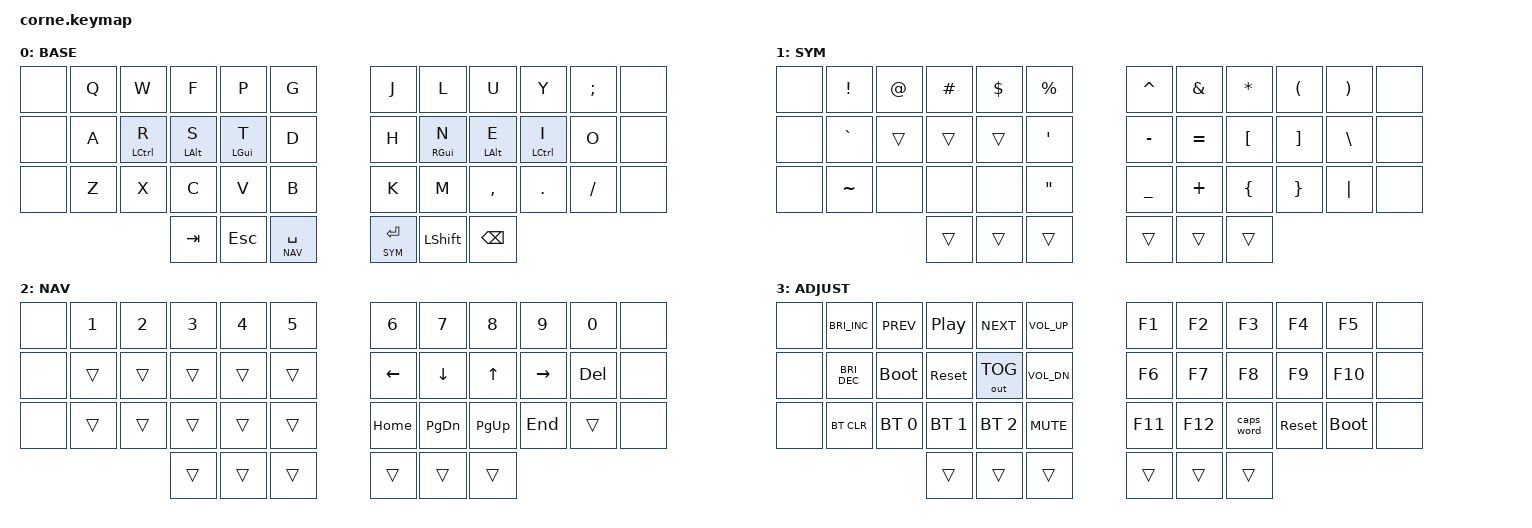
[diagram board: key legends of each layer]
 /*
 * Copyright (c) 2020 The ZMK Contributors
 *
 * SPDX-License-Identifier: MIT
 */

#include <behaviors.dtsi>
#include <dt-bindings/zmk/keys.h>
#include <dt-bindings/zmk/bt.h>
#include <dt-bindings/zmk/outputs.h>

#define BASE   0
#define SYM    1
#define NAV    2
#define ADJUST 3

/* Space/NAV and Enter/SYM thumbs: taps still fire on release, but pressing and
 * releasing another key while the thumb is held selects the layer immediately
 * instead of waiting for the tapping term.
 */
&lt {
    flavor = "balanced";
    tapping-term-ms = <200>;
};

/ { 

    behaviors {
        hm: homerow_mods {
            compatible = "zmk,behavior-hold-tap";
            label = "HOMEROW_MODS";
            #binding-cells = <2>;
            tapping-term-ms = <200>;
            quick-tap-ms = <175>;
            require-prior-idle-ms = <150>;
            flavor = "balanced";
            bindings = <&kp>, <&kp>;
        };
    };  

    conditional_layers {
        compatible = "zmk,conditional-layers";
        tri_layer {
            if-layers = <SYM NAV>;
            then-layer = <ADJUST>;
        };
    };

    keymap  {

        compatible = "zmk,keymap";

/* Layer 0: Base (Colemak-DH)
 * ,-----.-----.-----.-----.-----.                      ,-----.-----.-----.-----.-----.
 * |  Q  |  W  |  F  |  P  |  G  |                      |  J  |  L  |  U  |  Y  |  ;  |
 * |-----+-----+-----+-----+-----|                      |-----+-----+-----+-----+-----|
 * |  A  |R/Ctl|S/Alt|T/Gui|  D  |                      |  H  |N/Gui|E/Alt|I/Ctl|  O  |
 * |-----+-----+-----+-----+-----+                      |-----+-----+-----+-----+-----|
 * |  Z  |  X  |  C  |  V  |  B  |                      |  K  |  M  |  ,  |  .  |  /  |
 * `-----'-----'-----'-----'-----'                      `-----'-----'-----'-----'-----'
 *               .-------.-------.-------.      .-------.-------.-------.
 *               |  TAB  |  ESC  |SPC/NAV|      |ENT/SYM| SHIFT | BSPC  |
 *               '-------'-------'-------'      '-------'-------'-------'
 */
        default_layer {
            display-name = "BASE";
            bindings = <
        &none &kp Q     &kp W       &kp F       &kp P       &kp G           &kp J &kp L         &kp U       &kp Y       &kp SEMI &none
        &none &kp A     &hm LCTRL R &hm LALT S  &hm LGUI T  &kp D           &kp H &hm RGUI N    &hm LALT E  &hm LCTRL I &kp O &none    
        &none &kp Z     &kp X       &kp C       &kp V       &kp B           &kp K &kp M         &kp COMMA   &kp DOT     &kp FSLH &none
                              &kp TAB &kp ESC &lt NAV SPACE                 &lt SYM ENTER &kp LSHIFT &kp BSPC
            >;
       };
/* Layer 1: Symbols (hold Enter). Unshifted symbol above its shifted pair;
 * top row matches Shift+1..0. Left home-row mods stay transparent.
 * ,-----.-----.-----.-----.-----.                      ,-----.-----.-----.-----.-----.
 * |  !  |  @  |  #  |  $  |  %  |                      |  ^  |  &  |  *  |  (  |  )  |
 * |-----+-----+-----+-----+-----|                      |-----+-----+-----+-----+-----|
 * |  `  | Ctl | Alt | Gui |  '  |                      |  -  |  =  |  [  |  ]  |  \  |
 * |-----+-----+-----+-----+-----+                      |-----+-----+-----+-----+-----|
 * |  ~  |     |     |     |  "  |                      |  _  |  +  |  {  |  }  |  |  |
 * `-----'-----'-----'-----'-----'                      `-----'-----'-----'-----'-----'
 *               .-------.-------.-------.      .-------.-------.-------.   
 *               |       |       |       |      |       |       |       |
 *               '-------'-------'-------'      '-------'-------'-------' 
 */
      	sym_layer {
            display-name = "SYM";
            bindings = <
		&none &kp EXCL  &kp AT     &kp HASH  &kp DOLLAR     &kp PRCNT       &kp CARET      &kp AMPS  &kp STAR &kp LPAR &kp RPAR &none
        &none &kp GRAVE &trans     &trans    &trans         &kp SQT         &kp MINUS      &kp EQUAL &kp LBKT &kp RBKT &kp BSLH &none    
    	&none &kp TILDE &none      &none     &none          &kp DQT         &kp UNDERSCORE &kp PLUS  &kp LBRC &kp RBRC &kp PIPE &none 
					   &trans &trans &trans                                             &trans &trans &trans
		    >;
		};

/* Layer 2: Numbers / Navigation (hold Space). Left home-row mods stay
 * transparent; right Shift thumb stays free for Mod+Shift+number/arrow.
 * ,-----.-----.-----.-----.-----.                      ,-----.-----.-----.-----.-----.
 * |  1  |  2  |  3  |  4  |  5  |                      |  6  |  7  |  8  |  9  |  0  |
 * |-----+-----+-----+-----+-----|                      |-----+-----+-----+-----+-----|
 * |     | Ctl | Alt | Gui |     |                      |LEFT |DOWN | UP  |RGHT | DEL |
 * |-----+-----+-----+-----+-----+                      |-----+-----+-----+-----+-----|
 * |     |     |     |     |     |                      |HOME |PGDN |PGUP | END |     |
 * `-----'-----'-----'-----'-----'                      `-----'-----'-----'-----'-----'
 *               .-------.-------.-------.      .-------.-------.-------.   
 *               |       |       |       |      |       |       |       |
 *               '-------'-------'-------'      '-------'-------'-------' 
 */
		nav_layer {
		    display-name = "NAV";
		    bindings = <
		&none &kp N1 &kp N2 &kp N3 &kp N4 &kp N5         &kp N6   &kp N7    &kp N8    &kp N9    &kp N0  &none
		&none &trans &trans &trans &trans &trans         &kp LEFT &kp DOWN  &kp UP    &kp RIGHT &kp DEL &none
		&none &trans &trans &trans &trans &trans         &kp HOME &kp PG_DN &kp PG_UP &kp END   &trans  &none
					   &trans &trans &trans                                             &trans &trans &trans
		    >;
		};

/* Layer 3: Adjust (SYM + NAV). BOOT/RESET act on the half they are pressed on.
 * ,-----.-----.-----.-----.-----.                      ,-----.-----.-----.-----.-----.
 * |BRI+ |PREV |PLAY |NEXT |VOL+ |                      | F1  | F2  | F3  | F4  | F5  |
 * |-----+-----+-----+-----+-----|                      |-----+-----+-----+-----+-----|
 * |BRI- |BOOT |RESET|USB/ |VOL- |                      | F6  | F7  | F8  | F9  | F10 |
 * |     |     |     | BLE |     |                      |     |     |     |     |     |
 * |-----+-----+-----+-----+-----+                      |-----+-----+-----+-----+-----|
 * |BTCLR| BT0 | BT1 | BT2 |MUTE |                      | F11 | F12 |CAPSW|RESET|BOOT |
 * `-----'-----'-----'-----'-----'                      `-----'-----'-----'-----'-----'
 *               .-------.-------.-------.      .-------.-------.-------.   
 *               |       |       |       |      |       |       |       |
 *               '-------'-------'-------'      '-------'-------'-------' 
 */
		adjust_layer {
		    display-name = "ADJUST";
		    bindings = <
		&none &kp C_BRI_INC &kp C_PREV   &kp C_PP     &kp C_NEXT   &kp C_VOL_UP   		&kp F1  &kp F2  &kp F3     &kp F4     &kp F5      &none
		&none &kp C_BRI_DEC &bootloader  &sys_reset   &out OUT_TOG &kp C_VOL_DN			&kp F6  &kp F7  &kp F8     &kp F9     &kp F10     &none
		&none &bt BT_CLR    &bt BT_SEL 0 &bt BT_SEL 1 &bt BT_SEL 2 &kp C_MUTE	        &kp F11 &kp F12 &caps_word &sys_reset &bootloader &none
					   &trans &trans &trans                                             &trans &trans &trans
		    >;
		};        
    };
};
